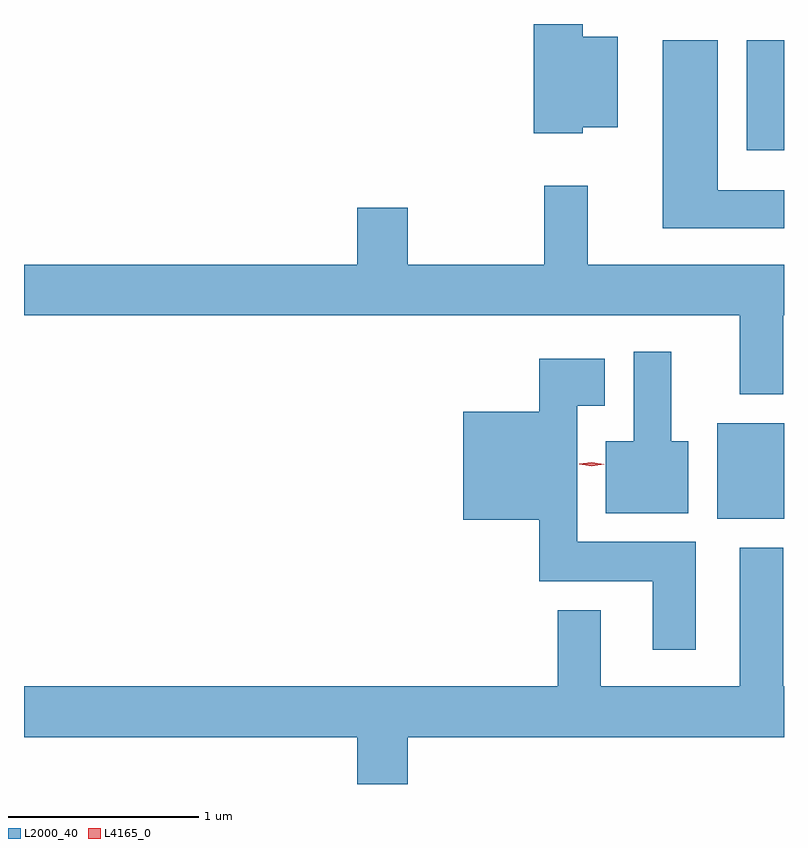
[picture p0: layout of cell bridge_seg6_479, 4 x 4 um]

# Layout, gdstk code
import gdstk
lib = gdstk.Library(unit=1e-6, precision=1e-09)
def R(c, l, rs):  # rectangles x0, y0, x1, y1
    for r in rs: c.add(gdstk.rectangle(r[:2], r[2:], *l))
def P(c, l, *ps):  # polygons
    for p in ps: c.add(gdstk.Polygon(p, *l))
L2000_40 = (2000, 40)
L4165_0 = (4165, 0)

bridge_seg6_479 = lib.new_cell('bridge_seg6_479')
R(bridge_seg6_479, L2000_40, [(1016.171,1595.586,1016.523,1596.089), (1016.326,1597.526,1016.523,1598.104)])
P(bridge_seg6_479, L2000_40, [(1015.464,1597.646),(1015.649,1597.646),(1015.649,1598.124),(1015.464,1598.124),(1015.464,1598.19),(1015.206,1598.19),(1015.206,1597.616),(1015.464,1597.616)],
  [(1016.523,1597.314),(1016.174,1597.314),(1016.174,1598.104),(1015.886,1598.104),(1015.886,1597.116),(1016.523,1597.116)],
  [(1016.519,1596.656),(1016.523,1596.656),(1016.523,1596.924),(1015.489,1596.924),(1015.489,1597.339),(1015.261,1597.339),(1015.261,1596.924),(1014.544,1596.924),(1014.544,1597.224),(1014.276,1597.224),(1014.276,1596.924),(1012.523,1596.924),(1012.523,1596.656),(1016.291,1596.656),(1016.291,1596.241),(1016.519,1596.241)],
  [(1016.019,1595.994),(1015.929,1595.994),(1015.929,1596.464),(1015.731,1596.464),(1015.731,1595.994),(1015.586,1595.994),(1015.586,1595.616),(1016.019,1595.616)],
  [(1016.059,1595.464),(1015.434,1595.464),(1015.434,1596.181),(1015.579,1596.181),(1015.579,1596.429),(1015.236,1596.429),(1015.236,1596.149),(1014.836,1596.149),(1014.836,1595.581),(1015.236,1595.581),(1015.236,1595.256),(1015.831,1595.256),(1015.831,1594.896),(1016.059,1594.896)],
  [(1014.544,1594.436),(1016.523,1594.436),(1016.523,1594.704),(1016.519,1594.704),(1016.519,1595.434),(1016.291,1595.434),(1016.291,1594.704),(1015.559,1594.704),(1015.559,1595.104),(1015.331,1595.104),(1015.331,1594.704),(1012.523,1594.704),(1012.523,1594.436),(1014.276,1594.436),(1014.276,1594.19),(1014.544,1594.19)])
P(bridge_seg6_479, L4165_0, [(1015.512,1595.863),(1015.446,1595.874),(1015.446,1595.875),(1015.446,1595.875),(1015.512,1595.884),(1015.577,1595.873),(1015.578,1595.872),(1015.577,1595.872)])

lib.write_gds('bridge_seg6_479.gds')
